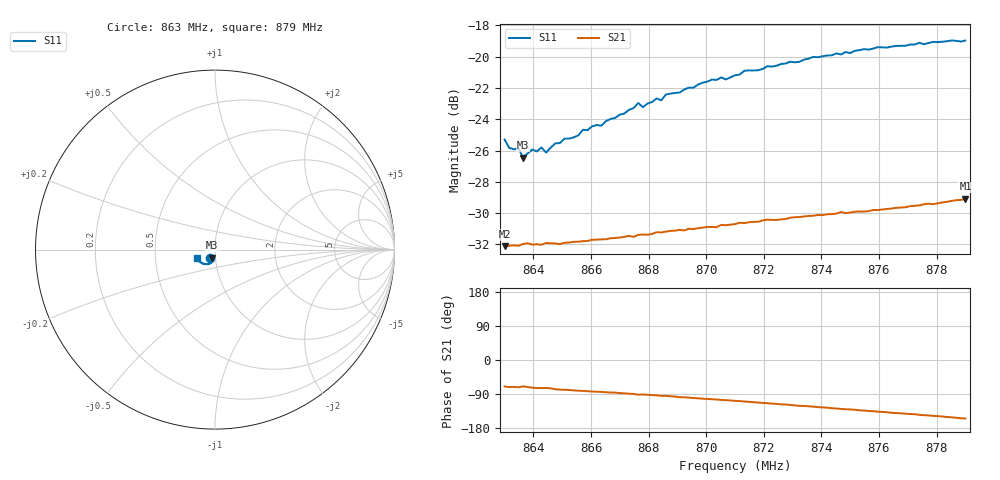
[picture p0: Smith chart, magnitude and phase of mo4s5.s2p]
# HZ S RI R 50
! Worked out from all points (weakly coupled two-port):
!   101 points, 863 MHz to 879 MHz, reference 50 ohm
!   highest |S21| = -29.09 dB at 879 MHz (marker M1); lowest = -32.1 dB at 863 MHz (marker M2)
!   lowest |S11| = -26.4 dB at 863.64 MHz (marker M3), VSWR 1.10, Z = 48.2 - j4.3 ohm
!   |S11| at or under -10 dB: start of sweep to end of sweep
!   S12 and S22 are empty: the file has one direction only
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8.63e8  -0.0293 -0.0458  0.00856 -0.0233  0 0  0 0
8.6316e8  -0.0238 -0.0452  0.00793 -0.0235  0 0  0 0
8.6348e8  -0.0227 -0.0456  0.00767 -0.0236  0 0  0 0
8.6364e8  -0.0167 -0.0446  0.00879 -0.0236  0 0  0 0
8.6396e8  -0.0173 -0.0474  0.00728 -0.024  0 0  0 0
8.6412e8  -0.016 -0.0471  0.00698 -0.0242  0 0  0 0
8.6428e8  -0.0164 -0.0486  0.00681 -0.0241  0 0  0 0
8.6444e8  -0.0145 -0.0472  0.00705 -0.0244  0 0  0 0
8.6476e8  -0.0166 -0.0501  0.00564 -0.0246  0 0  0 0
8.6556e8  -0.0156 -0.0538  0.00401 -0.0253  0 0  0 0
8.6572e8  -0.0144 -0.0566  0.00382 -0.0254  0 0  0 0
8.6636e8  -0.015 -0.0583  0.00265 -0.0259  0 0  0 0
8.6748e8  -0.0162 -0.0666  0.00021 -0.0265  0 0  0 0
8.6764e8  -0.0202 -0.0682  -0.00072 -0.0269  0 0  0 0
8.678e8  -0.0179 -0.0666  -0.000406 -0.027  0 0  0 0
8.6828e8  -0.0194 -0.071  -0.00152 -0.0274  0 0  0 0
8.6844e8  -0.0203 -0.0696  -0.00219 -0.0273  0 0  0 0
8.686e8  -0.0207 -0.0728  -0.00221 -0.0275  0 0  0 0
8.71e8  -0.0364 -0.0792  -0.00891 -0.0278  0 0  0 0
8.7372e8  -0.058 -0.0813  -0.0169 -0.026  0 0  0 0
8.7644e8  -0.0827 -0.0691  -0.0248 -0.0213  0 0  0 0
8.79e8  -0.1015 -0.0488  -0.0317 -0.0152  0 0  0 0
